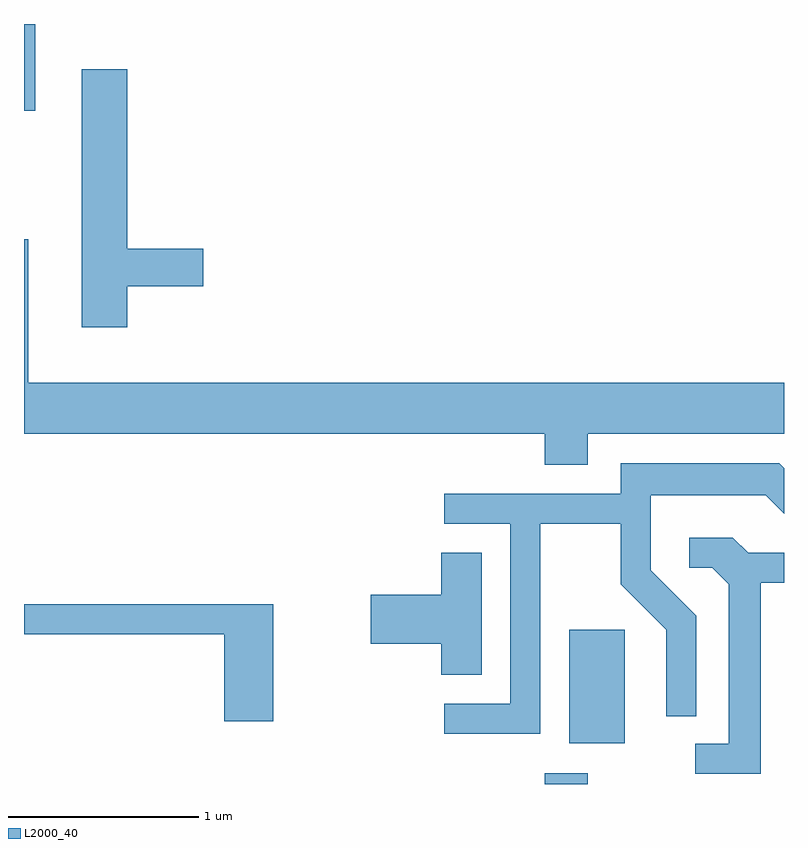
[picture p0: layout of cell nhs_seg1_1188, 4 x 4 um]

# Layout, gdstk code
import gdstk
lib = gdstk.Library(unit=1e-6, precision=1e-09)
def R(c, l, rs):  # rectangles x0, y0, x1, y1
    for r in rs: c.add(gdstk.rectangle(r[:2], r[2:], *l))
def P(c, l, *ps):  # polygons
    for p in ps: c.add(gdstk.Polygon(p, *l))
L2000_40 = (2000, 40)

nhs_seg1_1188 = lib.new_cell('nhs_seg1_1188')
R(nhs_seg1_1188, L2000_40, [(224.351,917.712,224.579,917.769), (224.481,917.926,224.774,918.524), (221.611,921.256,221.669,921.712)])
P(nhs_seg1_1188, L2000_40, [(222.154,920.331),(222.554,920.331),(222.554,920.529),(222.154,920.529),(222.154,921.474),(221.916,921.474),(221.916,920.116),(222.154,920.116)],
  [(224.579,919.556),(225.611,919.556),(225.611,919.824),(221.634,919.824),(221.634,920.578),(221.611,920.578),(221.611,919.556),(224.351,919.556),(224.351,919.391),(224.579,919.391)],
  [(224.329,919.081),(224.751,919.081),(224.751,918.764),(224.991,918.524),(224.991,918.068),(225.149,918.068),(225.149,918.597),(224.909,918.837),(224.909,919.231),(225.514,919.231),(225.611,919.134),(225.611,919.375),(225.587,919.399),(224.751,919.399),(224.751,919.239),(223.823,919.239),(223.823,919.081),(224.171,919.081),(224.171,918.134),(223.823,918.134),(223.823,917.976),(224.329,917.976)],
  [(225.489,918.771),(225.611,918.771),(225.611,918.929),(225.422,918.929),(225.342,919.009),(225.113,919.009),(225.113,918.851),(225.234,918.851),(225.321,918.764),(225.321,917.924),(225.143,917.924),(225.143,917.766),(225.489,917.766)],
  [(224.019,918.929),(223.806,918.929),(223.806,918.709),(223.436,918.709),(223.436,918.451),(223.806,918.451),(223.806,918.286),(224.019,918.286)],
  [(222.924,918.659),(221.611,918.659),(221.611,918.501),(222.666,918.501),(222.666,918.041),(222.924,918.041)])

lib.write_gds('nhs_seg1_1188.gds')
